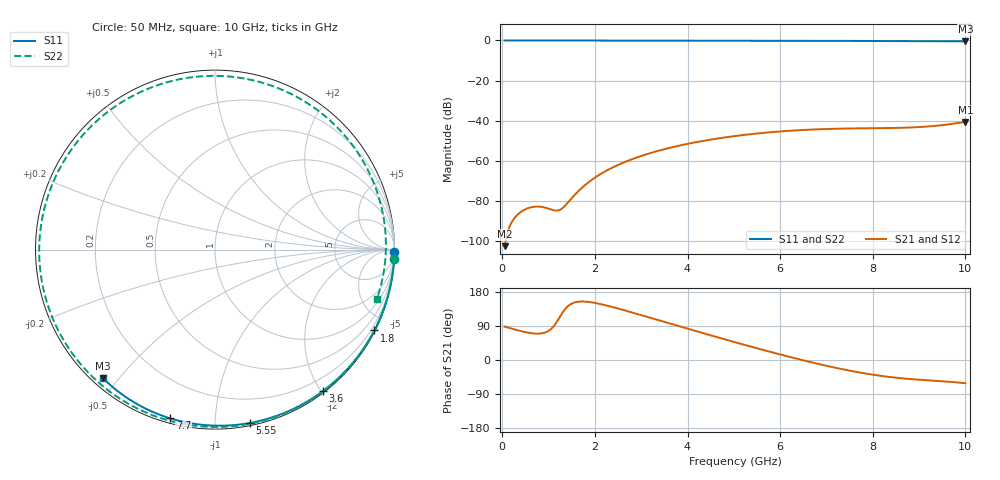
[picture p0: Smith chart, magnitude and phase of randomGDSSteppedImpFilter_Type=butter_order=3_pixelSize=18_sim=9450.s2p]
! freq	dB(S11)	phase(S11)	dB(S12)	phase(S12)
!  dB(S21)	phase(S21)	dB(S22)	phase(S22)
!S-par simulation data
#  GHz  S  DB  R 50
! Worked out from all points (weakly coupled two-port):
!   200 points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, 50 MHz to 10 GHz, reference 50 ohm
!   highest |S21| = -40.65 dB at 10 GHz (marker M1); lowest = -102.7 dB at 50 MHz (marker M2)
!   lowest |S11| = -0.4 dB at 10 GHz (marker M3), VSWR 39.05, Z = 1.54 - j22.7 ohm
!   |S11| at or under -10 dB: nowhere
!   |S22| runs from -0.5 to 0.0 dB; largest |S21 - S12| = 0
!   S11 on the Smith chart (normalised r, x): 50 MHz: open; 1.8 GHz: 0.04, -4.18; 3.6 GHz: 0.02, -2.02; 5.55 GHz: 0.02, -1.22; 7.7 GHz: 0.02, -0.77; 10 GHz: 0.03, -0.45
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0.05  -0.00 -0.8  -102.72 88.2  -102.72 88.2  -0.00 -3.0
0.4  -0.01 -6.0  -85.62 76.3  -85.62 76.3  -0.03 -23.3
0.8  -0.02 -12.1  -82.98 69.7  -82.98 69.7  -0.06 -45.7
1.1  -0.02 -16.5  -84.74 87.6  -84.74 87.6  -0.07 -61.8
1.45  -0.03 -21.7  -80.05 145.3  -80.05 145.3  -0.09 -79.6
1.75  -0.03 -26.1  -72.92 154.4  -72.92 154.4  -0.11 -93.9
1.8  -0.03 -26.9  -71.94 154.0  -71.94 154.0  -0.11 -96.2
2.15  -0.04 -32.0  -66.31 146.8  -66.31 146.8  -0.12 -111.7
2.6  -0.05 -38.5  -61.14 132.5  -61.14 132.5  -0.14 -130.2
3  -0.06 -44.2  -57.68 118.4  -57.68 118.4  -0.15 -145.5
3.4  -0.07 -49.8  -54.90 104.1  -54.90 104.1  -0.16 -159.9
3.6  -0.07 -52.6  -53.71 96.9  -53.71 96.9  -0.17 -166.9
4.3  -0.09 -62.1  -50.30 72.1  -50.30 72.1  -0.19 169.6
5.05  -0.11 -72.1  -47.66 46.1  -47.66 46.1  -0.22 145.3
5.55  -0.13 -78.5  -46.35 29.3  -46.35 29.3  -0.24 129.2
6.15  -0.15 -86.1  -45.18 9.9  -45.18 9.9  -0.26 109.8
6.7  -0.18 -92.9  -44.47 -6.8  -44.47 -6.8  -0.28 91.8
7.2  -0.21 -98.9  -44.09 -20.7  -44.09 -20.7  -0.30 75.2
7.7  -0.24 -104.9  -43.89 -32.7  -43.89 -32.7  -0.31 58.5
8.35  -0.29 -112.4  -43.74 -44.6  -43.74 -44.6  -0.34 36.8
9.15  -0.36 -121.6  -43.03 -53.2  -43.03 -53.2  -0.39 10.3
10  -0.44 -131.2  -40.65 -61.4  -40.65 -61.4  -0.51 -16.8
